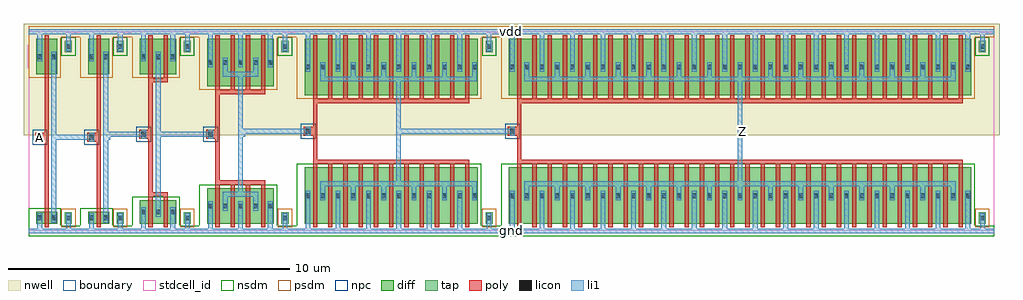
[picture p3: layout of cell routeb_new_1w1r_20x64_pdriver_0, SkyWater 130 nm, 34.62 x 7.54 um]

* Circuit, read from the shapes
.subckt routeb_new_1w1r_20x64_pdriver_0 A Z gnd vdd
XM1 routeb_new_1w1r_20x64_pinv_4_1/A A gnd gnd sky130_fd_pr__nfet_01v8 w=0.42 l=0.15
XM2 routeb_new_1w1r_20x64_pinv_5_2/A routeb_new_1w1r_20x64_pinv_4_1/A gnd gnd sky130_fd_pr__nfet_01v8 w=0.42 l=0.15
XM3 routeb_new_1w1r_20x64_pinv_6_3/A routeb_new_1w1r_20x64_pinv_5_2/A gnd gnd sky130_fd_pr__nfet_01v8 w=0.84 l=0.15 m=2
XM4 routeb_new_1w1r_20x64_pinv_7_4/A routeb_new_1w1r_20x64_pinv_6_3/A gnd gnd sky130_fd_pr__nfet_01v8 w=1.26 l=0.15 m=4
XM5 routeb_new_1w1r_20x64_pinv_8_5/A routeb_new_1w1r_20x64_pinv_7_4/A gnd gnd sky130_fd_pr__nfet_01v8 w=2 l=0.15 m=11
XM6 Z routeb_new_1w1r_20x64_pinv_8_5/A gnd gnd sky130_fd_pr__nfet_01v8 w=2 l=0.15 m=30
XM7 routeb_new_1w1r_20x64_pinv_4_1/A A vdd vdd sky130_fd_pr__pfet_01v8 w=1.26 l=0.15
XM8 routeb_new_1w1r_20x64_pinv_5_2/A routeb_new_1w1r_20x64_pinv_4_1/A vdd vdd sky130_fd_pr__pfet_01v8 w=1.26 l=0.15
XM9 routeb_new_1w1r_20x64_pinv_6_3/A routeb_new_1w1r_20x64_pinv_5_2/A vdd vdd sky130_fd_pr__pfet_01v8 w=1.26 l=0.15 m=2
XM10 routeb_new_1w1r_20x64_pinv_7_4/A routeb_new_1w1r_20x64_pinv_6_3/A vdd vdd sky130_fd_pr__pfet_01v8 w=1.68 l=0.15 m=4
XM11 routeb_new_1w1r_20x64_pinv_8_5/A routeb_new_1w1r_20x64_pinv_7_4/A vdd vdd sky130_fd_pr__pfet_01v8 w=2 l=0.15 m=11
XM12 Z routeb_new_1w1r_20x64_pinv_8_5/A vdd vdd sky130_fd_pr__pfet_01v8 w=2 l=0.15 m=30
.ends

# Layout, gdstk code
import gdstk
lib = gdstk.Library(unit=1e-6, precision=1e-09)
def R(c, l, rs):  # rectangles x0, y0, x1, y1
    for r in rs: c.add(gdstk.rectangle(r[:2], r[2:], *l))
def A(c, l, x, y, w, h, nx, ny, dx, dy):  # array of equal rectangles
    R(c, l, [(x+i*dx, y+j*dy, x+i*dx+w, y+j*dy+h) for i in range(nx) for j in range(ny)])
nwell = (64, 20)
diff = (65, 20)
tap = (65, 44)
poly = (66, 20)
licon = (66, 44)
li1 = (67, 20)
stdcell_id = (81, 4)
nsdm = (93, 44)
psdm = (94, 20)
npc = (95, 20)
boundary = (235, 4)

routeb_new_1w1r_20x64_co = lib.new_cell('routeb_new_1w1r_20x64_contact_11')
R(routeb_new_1w1r_20x64_co, nwell, [(-0.295,-0.255,0.545,0.585)])
R(routeb_new_1w1r_20x64_co, diff, [(0,0.02,0.25,0.31)])
R(routeb_new_1w1r_20x64_co, licon, [(0.04,0.08,0.21,0.25)])
R(routeb_new_1w1r_20x64_co, li1, [(0.04,0,0.21,0.33)])
R(routeb_new_1w1r_20x64_co, stdcell_id, [(-0.295,-0.255,0.545,0.585)])
R(routeb_new_1w1r_20x64_co, psdm, [(-0.125,-0.105,0.375,0.435)])
R(routeb_new_1w1r_20x64_co, boundary, [(-0.295,-0.255,0.545,0.585)])

routeb_new_1w1r_20x64_pm = lib.new_cell('routeb_new_1w1r_20x64_pmos_m1_w1_260_sli_dli_da_p')
R(routeb_new_1w1r_20x64_pm, nwell, [(-0.27,-0.27,1.02,1.53)])
R(routeb_new_1w1r_20x64_pm, diff, [(0,0,0.75,1.26)])
R(routeb_new_1w1r_20x64_pm, poly, [(0.3,-0.13,0.45,1.39), (0.3,-0.13,0.45,1.39)])
R(routeb_new_1w1r_20x64_pm, li1, [(0.04,0.465,0.21,0.795), (0.54,0.465,0.71,0.795)])
R(routeb_new_1w1r_20x64_pm, stdcell_id, [(-0.27,-0.27,1.02,1.53)])
R(routeb_new_1w1r_20x64_pm, psdm, [(-0.125,-0.125,0.875,1.385)])
R(routeb_new_1w1r_20x64_pm, boundary, [(-0.27,-0.27,1.02,1.53)])
routeb_new_1w1r_20x64_pm.add(gdstk.Reference(routeb_new_1w1r_20x64_co, (0,0.465)))
routeb_new_1w1r_20x64_pm.add(gdstk.Reference(routeb_new_1w1r_20x64_co, (0.5,0.465)))
routeb_new_1w1r_20x64_pm.add(gdstk.Label('G', (0.375,0.63), layer=66, texttype=5))
routeb_new_1w1r_20x64_pm.add(gdstk.Label('S', (0.125,0.63), layer=67, texttype=5))
routeb_new_1w1r_20x64_pm.add(gdstk.Label('D', (0.625,0.63), layer=67, texttype=5))

c_routeb_new_1w1r_20x64_co = lib.new_cell('routeb_new_1w1r_20x64_contact_10')
R(c_routeb_new_1w1r_20x64_co, diff, [(0,0.02,0.25,0.31)])
R(c_routeb_new_1w1r_20x64_co, licon, [(0.04,0.08,0.21,0.25)])
R(c_routeb_new_1w1r_20x64_co, li1, [(0.04,0,0.21,0.33)])
R(c_routeb_new_1w1r_20x64_co, stdcell_id, [(-0.125,-0.105,0.375,0.435)])
R(c_routeb_new_1w1r_20x64_co, nsdm, [(-0.125,-0.105,0.375,0.435)])
R(c_routeb_new_1w1r_20x64_co, boundary, [(-0.125,-0.105,0.375,0.435)])

routeb_new_1w1r_20x64_nm = lib.new_cell('routeb_new_1w1r_20x64_nmos_m1_w0_420_sli_dli_da_p')
R(routeb_new_1w1r_20x64_nm, diff, [(0,0,0.75,0.42)])
R(routeb_new_1w1r_20x64_nm, poly, [(0.3,-0.13,0.45,0.55), (0.3,-0.13,0.45,0.55)])
R(routeb_new_1w1r_20x64_nm, li1, [(0.04,0.045,0.21,0.375), (0.54,0.045,0.71,0.375)])
R(routeb_new_1w1r_20x64_nm, stdcell_id, [(-0.125,-0.13,0.875,0.55)])
R(routeb_new_1w1r_20x64_nm, nsdm, [(-0.125,-0.125,0.875,0.545)])
R(routeb_new_1w1r_20x64_nm, boundary, [(-0.125,-0.13,0.875,0.55)])
routeb_new_1w1r_20x64_nm.add(gdstk.Reference(c_routeb_new_1w1r_20x64_co, (0,0.045)))
routeb_new_1w1r_20x64_nm.add(gdstk.Reference(c_routeb_new_1w1r_20x64_co, (0.5,0.045)))
routeb_new_1w1r_20x64_nm.add(gdstk.Label('G', (0.375,0.21), layer=66, texttype=5))
routeb_new_1w1r_20x64_nm.add(gdstk.Label('S', (0.125,0.21), layer=67, texttype=5))
routeb_new_1w1r_20x64_nm.add(gdstk.Label('D', (0.625,0.21), layer=67, texttype=5))

c_routeb_new_1w1r_20x64_co_ = lib.new_cell('routeb_new_1w1r_20x64_contact_24')
R(c_routeb_new_1w1r_20x64_co_, nwell, [(-0.295,-0.215,0.545,0.625)])
R(c_routeb_new_1w1r_20x64_co_, tap, [(0,0,0.25,0.41)])
R(c_routeb_new_1w1r_20x64_co_, licon, [(0.04,0.12,0.21,0.29)])
R(c_routeb_new_1w1r_20x64_co_, li1, [(0.04,0.04,0.21,0.37)])
R(c_routeb_new_1w1r_20x64_co_, stdcell_id, [(-0.295,-0.215,0.545,0.625)])
R(c_routeb_new_1w1r_20x64_co_, nsdm, [(-0.125,-0.125,0.375,0.535)])
R(c_routeb_new_1w1r_20x64_co_, boundary, [(-0.295,-0.215,0.545,0.625)])

c_routeb_new_1w1r_20x64_co__ = lib.new_cell('routeb_new_1w1r_20x64_contact_25')
R(c_routeb_new_1w1r_20x64_co__, tap, [(0,0,0.25,0.41)])
R(c_routeb_new_1w1r_20x64_co__, licon, [(0.04,0.12,0.21,0.29)])
R(c_routeb_new_1w1r_20x64_co__, li1, [(0.04,0.04,0.21,0.37)])
R(c_routeb_new_1w1r_20x64_co__, stdcell_id, [(-0.125,-0.125,0.375,0.535)])
R(c_routeb_new_1w1r_20x64_co__, psdm, [(-0.125,-0.125,0.375,0.535)])
R(c_routeb_new_1w1r_20x64_co__, boundary, [(-0.125,-0.125,0.375,0.535)])

c_routeb_new_1w1r_20x64_co___ = lib.new_cell('routeb_new_1w1r_20x64_contact_15')
R(c_routeb_new_1w1r_20x64_co___, poly, [(0,0,0.33,0.33)])
R(c_routeb_new_1w1r_20x64_co___, licon, [(0.08,0.08,0.25,0.25)])
R(c_routeb_new_1w1r_20x64_co___, li1, [(0.08,0,0.25,0.33)])
R(c_routeb_new_1w1r_20x64_co___, stdcell_id, [(-0.1,-0.1,0.43,0.43)])
R(c_routeb_new_1w1r_20x64_co___, npc, [(-0.1,-0.1,0.43,0.43)])
R(c_routeb_new_1w1r_20x64_co___, boundary, [(-0.1,-0.1,0.43,0.43)])

routeb_new_1w1r_20x64_pi = lib.new_cell('routeb_new_1w1r_20x64_pinv_4')
R(routeb_new_1w1r_20x64_pi, nwell, [(-0.18,3.395,2.02,7.355)])
R(routeb_new_1w1r_20x64_pi, poly, [(0.57,0.805,0.72,5.425), (0.405,3.16,0.57,3.49)])
R(routeb_new_1w1r_20x64_pi, li1, [(0,-0.085,1.84,0.085), (0.31,-0.085,0.48,0.3), (1.33,0,1.5,0.46), (0.81,0.3,0.98,6.35), (0.32,3.16,0.49,3.49), (0.895,3.24,1.065,3.41), (0.31,6.02,0.48,7.155), (1.33,6.545,1.5,7.07), (0,6.985,1.84,7.155)])
R(routeb_new_1w1r_20x64_pi, stdcell_id, [(0,0,1.84,7.07), (0,0,1.84,7.07)])
R(routeb_new_1w1r_20x64_pi, nsdm, [(0,-0.19,1.84,0.19), (0,0,1.145,0.8)])
R(routeb_new_1w1r_20x64_pi, psdm, [(0,5.43,1.145,7.07), (0,6.88,1.84,7.26)])
R(routeb_new_1w1r_20x64_pi, boundary, [(0,0,1.84,7.07), (0,0,1.84,7.07)])
routeb_new_1w1r_20x64_pi.add(gdstk.Reference(routeb_new_1w1r_20x64_pm, (0.27,5.555)))
routeb_new_1w1r_20x64_pi.add(gdstk.Reference(routeb_new_1w1r_20x64_nm, (0.27,0.255)))
routeb_new_1w1r_20x64_pi.add(gdstk.Reference(c_routeb_new_1w1r_20x64_co_, (1.29,6.34)))
routeb_new_1w1r_20x64_pi.add(gdstk.Reference(c_routeb_new_1w1r_20x64_co__, (1.29,0.255)))
routeb_new_1w1r_20x64_pi.add(gdstk.Reference(c_routeb_new_1w1r_20x64_co___, (0.24,3.16)))
routeb_new_1w1r_20x64_pi.add(gdstk.Label('A', (0.405,3.325), layer=67, texttype=5))
routeb_new_1w1r_20x64_pi.add(gdstk.Label('Z', (0.98,3.325), layer=67, texttype=5))
routeb_new_1w1r_20x64_pi.add(gdstk.Label('gnd', (0.92,0), layer=67, texttype=5))
routeb_new_1w1r_20x64_pi.add(gdstk.Label('vdd', (0.92,7.07), layer=67, texttype=5))

c_routeb_new_1w1r_20x64_pm = lib.new_cell('routeb_new_1w1r_20x64_pmos_m2_w1_260_sli_dli_da_p')
R(c_routeb_new_1w1r_20x64_pm, nwell, [(-0.27,-0.27,1.56,1.53)])
R(c_routeb_new_1w1r_20x64_pm, diff, [(0,0,1.29,1.26)])
R(c_routeb_new_1w1r_20x64_pm, poly, [(0.3,-0.28,0.99,-0.13), (0.3,-0.13,0.45,1.39), (0.84,-0.13,0.99,1.39)])
A(c_routeb_new_1w1r_20x64_pm, li1, 0.04, 0.465, 0.17, 0.33, 3, 1, 0.52, 0)
R(c_routeb_new_1w1r_20x64_pm, stdcell_id, [(-0.27,-0.28,1.56,1.53)])
R(c_routeb_new_1w1r_20x64_pm, psdm, [(-0.125,-0.125,1.415,1.385)])
R(c_routeb_new_1w1r_20x64_pm, boundary, [(-0.27,-0.28,1.56,1.53)])
c_routeb_new_1w1r_20x64_pm.add(gdstk.Reference(routeb_new_1w1r_20x64_co, (0,0.465)))
c_routeb_new_1w1r_20x64_pm.add(gdstk.Reference(routeb_new_1w1r_20x64_co, (0.52,0.465)))
c_routeb_new_1w1r_20x64_pm.add(gdstk.Reference(routeb_new_1w1r_20x64_co, (1.04,0.465)))
c_routeb_new_1w1r_20x64_pm.add(gdstk.Label('G', (0.645,-0.205), layer=66, texttype=5))
c_routeb_new_1w1r_20x64_pm.add(gdstk.Label('S', (1.165,0.63), layer=67, texttype=5))
c_routeb_new_1w1r_20x64_pm.add(gdstk.Label('S', (0.125,0.63), layer=67, texttype=5))
c_routeb_new_1w1r_20x64_pm.add(gdstk.Label('D', (0.645,0.63), layer=67, texttype=5))

c_routeb_new_1w1r_20x64_nm = lib.new_cell('routeb_new_1w1r_20x64_nmos_m2_w0_840_sli_dli_da_p')
R(c_routeb_new_1w1r_20x64_nm, diff, [(0,0,1.29,0.84)])
R(c_routeb_new_1w1r_20x64_nm, poly, [(0.3,-0.13,0.45,0.97), (0.84,-0.13,0.99,0.97), (0.3,0.97,0.99,1.12)])
A(c_routeb_new_1w1r_20x64_nm, li1, 0.04, 0.255, 0.17, 0.33, 3, 1, 0.52, 0)
R(c_routeb_new_1w1r_20x64_nm, stdcell_id, [(-0.125,-0.13,1.415,1.12)])
R(c_routeb_new_1w1r_20x64_nm, nsdm, [(-0.125,-0.125,1.415,0.965)])
R(c_routeb_new_1w1r_20x64_nm, boundary, [(-0.125,-0.13,1.415,1.12)])
c_routeb_new_1w1r_20x64_nm.add(gdstk.Reference(c_routeb_new_1w1r_20x64_co, (0,0.255)))
c_routeb_new_1w1r_20x64_nm.add(gdstk.Reference(c_routeb_new_1w1r_20x64_co, (0.52,0.255)))
c_routeb_new_1w1r_20x64_nm.add(gdstk.Reference(c_routeb_new_1w1r_20x64_co, (1.04,0.255)))
c_routeb_new_1w1r_20x64_nm.add(gdstk.Label('G', (0.645,1.045), layer=66, texttype=5))
c_routeb_new_1w1r_20x64_nm.add(gdstk.Label('S', (1.165,0.42), layer=67, texttype=5))
c_routeb_new_1w1r_20x64_nm.add(gdstk.Label('S', (0.125,0.42), layer=67, texttype=5))
c_routeb_new_1w1r_20x64_nm.add(gdstk.Label('D', (0.645,0.42), layer=67, texttype=5))

c_routeb_new_1w1r_20x64_pi = lib.new_cell('routeb_new_1w1r_20x64_pinv_5')
R(c_routeb_new_1w1r_20x64_pi, nwell, [(-0.18,3.395,2.56,7.355)])
R(c_routeb_new_1w1r_20x64_pi, poly, [(0.57,1.375,0.72,5.275), (0.405,3.265,0.57,3.595)])
R(c_routeb_new_1w1r_20x64_pi, li1, [(0,-0.085,2.38,0.085), (0.31,-0.085,0.48,0.51), (1.35,-0.085,1.52,0.51), (1.87,0,2.04,0.46), (0.83,0.51,1,6.35), (0.32,3.265,0.49,3.595), (0.915,3.345,1.085,3.515), (0.31,6.02,0.48,7.155), (1.35,6.02,1.52,7.155), (1.87,6.545,2.04,7.07), (0,6.985,2.38,7.155)])
R(c_routeb_new_1w1r_20x64_pi, stdcell_id, [(0,0,2.38,7.07), (0,0,2.38,7.07)])
R(c_routeb_new_1w1r_20x64_pi, nsdm, [(0,-0.19,2.38,0.19), (0,0,1.685,1.22)])
R(c_routeb_new_1w1r_20x64_pi, psdm, [(0,5.43,1.685,7.07), (0,6.88,2.38,7.26)])
R(c_routeb_new_1w1r_20x64_pi, boundary, [(0,0,2.38,7.07), (0,0,2.38,7.07)])
c_routeb_new_1w1r_20x64_pi.add(gdstk.Reference(c_routeb_new_1w1r_20x64_pm, (0.27,5.555)))
c_routeb_new_1w1r_20x64_pi.add(gdstk.Reference(c_routeb_new_1w1r_20x64_nm, (0.27,0.255)))
c_routeb_new_1w1r_20x64_pi.add(gdstk.Reference(c_routeb_new_1w1r_20x64_co_, (1.83,6.34)))
c_routeb_new_1w1r_20x64_pi.add(gdstk.Reference(c_routeb_new_1w1r_20x64_co__, (1.83,0.255)))
c_routeb_new_1w1r_20x64_pi.add(gdstk.Reference(c_routeb_new_1w1r_20x64_co___, (0.24,3.265)))
c_routeb_new_1w1r_20x64_pi.add(gdstk.Label('A', (0.405,3.43), layer=67, texttype=5))
c_routeb_new_1w1r_20x64_pi.add(gdstk.Label('Z', (1,3.43), layer=67, texttype=5))
c_routeb_new_1w1r_20x64_pi.add(gdstk.Label('gnd', (1.19,0), layer=67, texttype=5))
c_routeb_new_1w1r_20x64_pi.add(gdstk.Label('vdd', (1.19,7.07), layer=67, texttype=5))

c_routeb_new_1w1r_20x64_pm_ = lib.new_cell('routeb_new_1w1r_20x64_pmos_m4_w1_680_sli_dli_da_p')
R(c_routeb_new_1w1r_20x64_pm_, nwell, [(-0.27,-0.27,2.64,1.95)])
R(c_routeb_new_1w1r_20x64_pm_, diff, [(0,0,2.37,1.68)])
A(c_routeb_new_1w1r_20x64_pm_, poly, 0.3, -0.13, 0.15, 1.94, 4, 1, 0.54, 0)
R(c_routeb_new_1w1r_20x64_pm_, poly, [(0.3,-0.28,2.07,-0.13)])
A(c_routeb_new_1w1r_20x64_pm_, li1, 0.04, 0.675, 0.17, 0.33, 3, 1, 1.06, 0)
R(c_routeb_new_1w1r_20x64_pm_, li1, [(0.56,0.335,1.81,0.505), (0.56,0.42,0.73,0.84), (1.64,0.42,1.81,0.84)])
R(c_routeb_new_1w1r_20x64_pm_, stdcell_id, [(-0.27,-0.28,2.64,1.95)])
R(c_routeb_new_1w1r_20x64_pm_, psdm, [(-0.125,-0.125,2.495,1.805)])
R(c_routeb_new_1w1r_20x64_pm_, boundary, [(-0.27,-0.28,2.64,1.95)])
c_routeb_new_1w1r_20x64_pm_.add(gdstk.Reference(routeb_new_1w1r_20x64_co, (0,0.675)))
c_routeb_new_1w1r_20x64_pm_.add(gdstk.Reference(routeb_new_1w1r_20x64_co, (0.52,0.675)))
c_routeb_new_1w1r_20x64_pm_.add(gdstk.Reference(routeb_new_1w1r_20x64_co, (1.06,0.675)))
c_routeb_new_1w1r_20x64_pm_.add(gdstk.Reference(routeb_new_1w1r_20x64_co, (1.6,0.675)))
c_routeb_new_1w1r_20x64_pm_.add(gdstk.Reference(routeb_new_1w1r_20x64_co, (2.12,0.675)))
c_routeb_new_1w1r_20x64_pm_.add(gdstk.Label('G', (1.185,-0.205), layer=66, texttype=5))
c_routeb_new_1w1r_20x64_pm_.add(gdstk.Label('S', (2.245,0.84), layer=67, texttype=5))
c_routeb_new_1w1r_20x64_pm_.add(gdstk.Label('S', (0.125,0.84), layer=67, texttype=5))
c_routeb_new_1w1r_20x64_pm_.add(gdstk.Label('S', (1.185,0.84), layer=67, texttype=5))
c_routeb_new_1w1r_20x64_pm_.add(gdstk.Label('D', (1.185,0.42), layer=67, texttype=5))

c_routeb_new_1w1r_20x64_nm_ = lib.new_cell('routeb_new_1w1r_20x64_nmos_m4_w1_260_sli_dli_da_p')
R(c_routeb_new_1w1r_20x64_nm_, diff, [(0,0,2.37,1.26)])
A(c_routeb_new_1w1r_20x64_nm_, poly, 0.3, -0.13, 0.15, 1.52, 4, 1, 0.54, 0)
R(c_routeb_new_1w1r_20x64_nm_, poly, [(0.3,1.39,2.07,1.54)])
A(c_routeb_new_1w1r_20x64_nm_, li1, 0.04, 0.465, 0.17, 0.33, 3, 1, 1.06, 0)
R(c_routeb_new_1w1r_20x64_nm_, li1, [(0.56,0.63,0.73,1.05), (1.64,0.63,1.81,1.05), (0.56,0.965,1.81,1.135)])
R(c_routeb_new_1w1r_20x64_nm_, stdcell_id, [(-0.125,-0.13,2.495,1.54)])
R(c_routeb_new_1w1r_20x64_nm_, nsdm, [(-0.125,-0.125,2.495,1.385)])
R(c_routeb_new_1w1r_20x64_nm_, boundary, [(-0.125,-0.13,2.495,1.54)])
c_routeb_new_1w1r_20x64_nm_.add(gdstk.Reference(c_routeb_new_1w1r_20x64_co, (0,0.465)))
c_routeb_new_1w1r_20x64_nm_.add(gdstk.Reference(c_routeb_new_1w1r_20x64_co, (0.52,0.465)))
c_routeb_new_1w1r_20x64_nm_.add(gdstk.Reference(c_routeb_new_1w1r_20x64_co, (1.06,0.465)))
c_routeb_new_1w1r_20x64_nm_.add(gdstk.Reference(c_routeb_new_1w1r_20x64_co, (1.6,0.465)))
c_routeb_new_1w1r_20x64_nm_.add(gdstk.Reference(c_routeb_new_1w1r_20x64_co, (2.12,0.465)))
c_routeb_new_1w1r_20x64_nm_.add(gdstk.Label('G', (1.185,1.465), layer=66, texttype=5))
c_routeb_new_1w1r_20x64_nm_.add(gdstk.Label('S', (1.185,0.63), layer=67, texttype=5))
c_routeb_new_1w1r_20x64_nm_.add(gdstk.Label('S', (2.245,0.63), layer=67, texttype=5))
c_routeb_new_1w1r_20x64_nm_.add(gdstk.Label('S', (0.125,0.63), layer=67, texttype=5))
c_routeb_new_1w1r_20x64_nm_.add(gdstk.Label('D', (1.185,1.05), layer=67, texttype=5))

c_routeb_new_1w1r_20x64_pi_ = lib.new_cell('routeb_new_1w1r_20x64_pinv_6')
R(c_routeb_new_1w1r_20x64_pi_, nwell, [(-0.18,3.395,3.64,7.355)])
R(c_routeb_new_1w1r_20x64_pi_, poly, [(0.57,1.795,0.72,4.855), (0.405,3.265,0.57,3.595)])
A(c_routeb_new_1w1r_20x64_pi_, li1, 0.31, -0.085, 0.17, 0.805, 3, 1, 1.06, 0)
A(c_routeb_new_1w1r_20x64_pi_, li1, 0.31, 5.81, 0.17, 1.345, 3, 1, 1.06, 0)
R(c_routeb_new_1w1r_20x64_pi_, li1, [(0,-0.085,3.46,0.085), (2.95,0,3.12,0.46), (1.37,1.22,1.54,5.64), (0.32,3.265,0.49,3.595), (1.455,3.345,1.625,3.515), (2.95,6.545,3.12,7.07), (0,6.985,3.46,7.155)])
R(c_routeb_new_1w1r_20x64_pi_, stdcell_id, [(0,0,3.46,7.07), (0,0,3.46,7.07)])
R(c_routeb_new_1w1r_20x64_pi_, nsdm, [(0,-0.19,3.46,0.19), (0,0,2.765,1.64)])
R(c_routeb_new_1w1r_20x64_pi_, psdm, [(0,5.01,2.765,7.07), (0,6.88,3.46,7.26)])
R(c_routeb_new_1w1r_20x64_pi_, boundary, [(0,0,3.46,7.07), (0,0,3.46,7.07)])
c_routeb_new_1w1r_20x64_pi_.add(gdstk.Reference(c_routeb_new_1w1r_20x64_pm_, (0.27,5.135)))
c_routeb_new_1w1r_20x64_pi_.add(gdstk.Reference(c_routeb_new_1w1r_20x64_nm_, (0.27,0.255)))
c_routeb_new_1w1r_20x64_pi_.add(gdstk.Reference(c_routeb_new_1w1r_20x64_co_, (2.91,6.34)))
c_routeb_new_1w1r_20x64_pi_.add(gdstk.Reference(c_routeb_new_1w1r_20x64_co__, (2.91,0.255)))
c_routeb_new_1w1r_20x64_pi_.add(gdstk.Reference(c_routeb_new_1w1r_20x64_co___, (0.24,3.265)))
c_routeb_new_1w1r_20x64_pi_.add(gdstk.Label('A', (0.405,3.43), layer=67, texttype=5))
c_routeb_new_1w1r_20x64_pi_.add(gdstk.Label('Z', (1.54,3.43), layer=67, texttype=5))
c_routeb_new_1w1r_20x64_pi_.add(gdstk.Label('gnd', (1.73,0), layer=67, texttype=5))
c_routeb_new_1w1r_20x64_pi_.add(gdstk.Label('vdd', (1.73,7.07), layer=67, texttype=5))

c_routeb_new_1w1r_20x64_pm__ = lib.new_cell('routeb_new_1w1r_20x64_pmos_m11_w2_000_sli_dli_da_p')
R(c_routeb_new_1w1r_20x64_pm__, nwell, [(-0.27,-0.27,6.42,2.27)])
R(c_routeb_new_1w1r_20x64_pm__, diff, [(0,0,6.15,2)])
A(c_routeb_new_1w1r_20x64_pm__, poly, 0.3, -0.13, 0.15, 2.26, 11, 1, 0.54, 0)
R(c_routeb_new_1w1r_20x64_pm__, poly, [(0.3,-0.28,5.85,-0.13)])
A(c_routeb_new_1w1r_20x64_pm__, li1, 0.56, 0.58, 0.17, 0.42, 5, 1, 1.08, 0)
A(c_routeb_new_1w1r_20x64_pm__, li1, 1.1, 0.835, 0.17, 0.33, 5, 1, 1.08, 0)
R(c_routeb_new_1w1r_20x64_pm__, li1, [(0.56,0.495,6.11,0.665), (5.94,0.58,6.11,1), (0.04,0.835,0.21,1.165)])
R(c_routeb_new_1w1r_20x64_pm__, stdcell_id, [(-0.27,-0.28,6.42,2.27)])
R(c_routeb_new_1w1r_20x64_pm__, psdm, [(-0.125,-0.125,6.275,2.125)])
R(c_routeb_new_1w1r_20x64_pm__, boundary, [(-0.27,-0.28,6.42,2.27)])
c_routeb_new_1w1r_20x64_pm__.add(gdstk.Reference(routeb_new_1w1r_20x64_co, (0,0.835)))
c_routeb_new_1w1r_20x64_pm__.add(gdstk.Reference(routeb_new_1w1r_20x64_co, (0.52,0.835)))
c_routeb_new_1w1r_20x64_pm__.add(gdstk.Reference(routeb_new_1w1r_20x64_co, (1.06,0.835)))
c_routeb_new_1w1r_20x64_pm__.add(gdstk.Reference(routeb_new_1w1r_20x64_co, (1.6,0.835)))
c_routeb_new_1w1r_20x64_pm__.add(gdstk.Reference(routeb_new_1w1r_20x64_co, (2.14,0.835)))
c_routeb_new_1w1r_20x64_pm__.add(gdstk.Reference(routeb_new_1w1r_20x64_co, (2.68,0.835)))
c_routeb_new_1w1r_20x64_pm__.add(gdstk.Reference(routeb_new_1w1r_20x64_co, (3.22,0.835)))
c_routeb_new_1w1r_20x64_pm__.add(gdstk.Reference(routeb_new_1w1r_20x64_co, (3.76,0.835)))
c_routeb_new_1w1r_20x64_pm__.add(gdstk.Reference(routeb_new_1w1r_20x64_co, (4.3,0.835)))
c_routeb_new_1w1r_20x64_pm__.add(gdstk.Reference(routeb_new_1w1r_20x64_co, (4.84,0.835)))
c_routeb_new_1w1r_20x64_pm__.add(gdstk.Reference(routeb_new_1w1r_20x64_co, (5.38,0.835)))
c_routeb_new_1w1r_20x64_pm__.add(gdstk.Reference(routeb_new_1w1r_20x64_co, (5.9,0.835)))
c_routeb_new_1w1r_20x64_pm__.add(gdstk.Label('G', (3.075,-0.205), layer=66, texttype=5))
c_routeb_new_1w1r_20x64_pm__.add(gdstk.Label('S', (2.265,1), layer=67, texttype=5))
c_routeb_new_1w1r_20x64_pm__.add(gdstk.Label('S', (3.345,1), layer=67, texttype=5))
c_routeb_new_1w1r_20x64_pm__.add(gdstk.Label('S', (1.185,1), layer=67, texttype=5))
c_routeb_new_1w1r_20x64_pm__.add(gdstk.Label('S', (0.125,1), layer=67, texttype=5))
c_routeb_new_1w1r_20x64_pm__.add(gdstk.Label('S', (5.505,1), layer=67, texttype=5))
c_routeb_new_1w1r_20x64_pm__.add(gdstk.Label('S', (4.425,1), layer=67, texttype=5))
c_routeb_new_1w1r_20x64_pm__.add(gdstk.Label('D', (3.335,0.58), layer=67, texttype=5))

c_routeb_new_1w1r_20x64_nm__ = lib.new_cell('routeb_new_1w1r_20x64_nmos_m11_w2_000_sli_dli_da_p')
R(c_routeb_new_1w1r_20x64_nm__, diff, [(0,0,6.15,2)])
A(c_routeb_new_1w1r_20x64_nm__, poly, 0.3, -0.13, 0.15, 2.26, 11, 1, 0.54, 0)
R(c_routeb_new_1w1r_20x64_nm__, poly, [(0.3,2.13,5.85,2.28)])
A(c_routeb_new_1w1r_20x64_nm__, li1, 1.1, 0.835, 0.17, 0.33, 5, 1, 1.08, 0)
A(c_routeb_new_1w1r_20x64_nm__, li1, 0.56, 1, 0.17, 0.42, 5, 1, 1.08, 0)
R(c_routeb_new_1w1r_20x64_nm__, li1, [(0.04,0.835,0.21,1.165), (5.94,1,6.11,1.42), (0.56,1.335,6.11,1.505)])
R(c_routeb_new_1w1r_20x64_nm__, stdcell_id, [(-0.125,-0.13,6.275,2.28)])
R(c_routeb_new_1w1r_20x64_nm__, nsdm, [(-0.125,-0.125,6.275,2.125)])
R(c_routeb_new_1w1r_20x64_nm__, boundary, [(-0.125,-0.13,6.275,2.28)])
c_routeb_new_1w1r_20x64_nm__.add(gdstk.Reference(c_routeb_new_1w1r_20x64_co, (0,0.835)))
c_routeb_new_1w1r_20x64_nm__.add(gdstk.Reference(c_routeb_new_1w1r_20x64_co, (0.52,0.835)))
c_routeb_new_1w1r_20x64_nm__.add(gdstk.Reference(c_routeb_new_1w1r_20x64_co, (1.06,0.835)))
c_routeb_new_1w1r_20x64_nm__.add(gdstk.Reference(c_routeb_new_1w1r_20x64_co, (1.6,0.835)))
c_routeb_new_1w1r_20x64_nm__.add(gdstk.Reference(c_routeb_new_1w1r_20x64_co, (2.14,0.835)))
c_routeb_new_1w1r_20x64_nm__.add(gdstk.Reference(c_routeb_new_1w1r_20x64_co, (2.68,0.835)))
c_routeb_new_1w1r_20x64_nm__.add(gdstk.Reference(c_routeb_new_1w1r_20x64_co, (3.22,0.835)))
c_routeb_new_1w1r_20x64_nm__.add(gdstk.Reference(c_routeb_new_1w1r_20x64_co, (3.76,0.835)))
c_routeb_new_1w1r_20x64_nm__.add(gdstk.Reference(c_routeb_new_1w1r_20x64_co, (4.3,0.835)))
c_routeb_new_1w1r_20x64_nm__.add(gdstk.Reference(c_routeb_new_1w1r_20x64_co, (4.84,0.835)))
c_routeb_new_1w1r_20x64_nm__.add(gdstk.Reference(c_routeb_new_1w1r_20x64_co, (5.38,0.835)))
c_routeb_new_1w1r_20x64_nm__.add(gdstk.Reference(c_routeb_new_1w1r_20x64_co, (5.9,0.835)))
c_routeb_new_1w1r_20x64_nm__.add(gdstk.Label('G', (3.075,2.205), layer=66, texttype=5))
c_routeb_new_1w1r_20x64_nm__.add(gdstk.Label('S', (2.265,1), layer=67, texttype=5))
c_routeb_new_1w1r_20x64_nm__.add(gdstk.Label('S', (3.345,1), layer=67, texttype=5))
c_routeb_new_1w1r_20x64_nm__.add(gdstk.Label('S', (1.185,1), layer=67, texttype=5))
c_routeb_new_1w1r_20x64_nm__.add(gdstk.Label('S', (0.125,1), layer=67, texttype=5))
c_routeb_new_1w1r_20x64_nm__.add(gdstk.Label('S', (5.505,1), layer=67, texttype=5))
c_routeb_new_1w1r_20x64_nm__.add(gdstk.Label('S', (4.425,1), layer=67, texttype=5))
c_routeb_new_1w1r_20x64_nm__.add(gdstk.Label('D', (3.335,1.42), layer=67, texttype=5))

c_routeb_new_1w1r_20x64_pi__ = lib.new_cell('routeb_new_1w1r_20x64_pinv_7')
R(c_routeb_new_1w1r_20x64_pi__, nwell, [(-0.18,3.395,7.42,7.355)])
R(c_routeb_new_1w1r_20x64_pi__, poly, [(0.57,2.535,0.72,4.535), (0.405,3.37,0.57,3.7)])
A(c_routeb_new_1w1r_20x64_pi__, li1, 1.37, -0.085, 0.17, 1.175, 5, 1, 1.08, 0)
A(c_routeb_new_1w1r_20x64_pi__, li1, 1.37, 5.65, 0.17, 1.505, 5, 1, 1.08, 0)
R(c_routeb_new_1w1r_20x64_pi__, li1, [(0,-0.085,7.24,0.085), (0.31,-0.085,0.48,1.09), (6.73,0,6.9,0.46), (3.52,1.59,3.69,5.48), (0.32,3.37,0.49,3.7), (3.605,3.45,3.775,3.62), (0.31,5.65,0.48,7.155), (6.73,6.545,6.9,7.07), (0,6.985,7.24,7.155)])
R(c_routeb_new_1w1r_20x64_pi__, stdcell_id, [(0,0,7.24,7.07), (0,0,7.24,7.07)])
R(c_routeb_new_1w1r_20x64_pi__, nsdm, [(0,-0.19,7.24,0.19), (0,0,6.545,2.38)])
R(c_routeb_new_1w1r_20x64_pi__, psdm, [(0,4.69,6.545,7.07), (0,6.88,7.24,7.26)])
R(c_routeb_new_1w1r_20x64_pi__, boundary, [(0,0,7.24,7.07), (0,0,7.24,7.07)])
c_routeb_new_1w1r_20x64_pi__.add(gdstk.Reference(c_routeb_new_1w1r_20x64_pm__, (0.27,4.815)))
c_routeb_new_1w1r_20x64_pi__.add(gdstk.Reference(c_routeb_new_1w1r_20x64_nm__, (0.27,0.255)))
c_routeb_new_1w1r_20x64_pi__.add(gdstk.Reference(c_routeb_new_1w1r_20x64_co_, (6.69,6.34)))
c_routeb_new_1w1r_20x64_pi__.add(gdstk.Reference(c_routeb_new_1w1r_20x64_co__, (6.69,0.255)))
c_routeb_new_1w1r_20x64_pi__.add(gdstk.Reference(c_routeb_new_1w1r_20x64_co___, (0.24,3.37)))
c_routeb_new_1w1r_20x64_pi__.add(gdstk.Label('A', (0.405,3.535), layer=67, texttype=5))
c_routeb_new_1w1r_20x64_pi__.add(gdstk.Label('Z', (3.69,3.535), layer=67, texttype=5))
c_routeb_new_1w1r_20x64_pi__.add(gdstk.Label('gnd', (3.62,0), layer=67, texttype=5))
c_routeb_new_1w1r_20x64_pi__.add(gdstk.Label('vdd', (3.62,7.07), layer=67, texttype=5))

c_routeb_new_1w1r_20x64_pm___ = lib.new_cell('routeb_new_1w1r_20x64_pmos_m30_w2_000_sli_dli_da_p')
R(c_routeb_new_1w1r_20x64_pm___, nwell, [(-0.27,-0.27,16.68,2.27)])
R(c_routeb_new_1w1r_20x64_pm___, diff, [(0,0,16.41,2)])
A(c_routeb_new_1w1r_20x64_pm___, poly, 0.3, -0.13, 0.15, 2.26, 30, 1, 0.54, 0)
R(c_routeb_new_1w1r_20x64_pm___, poly, [(0.3,-0.28,16.11,-0.13)])
A(c_routeb_new_1w1r_20x64_pm___, li1, 0.56, 0.58, 0.17, 0.42, 15, 1, 1.08, 0)
A(c_routeb_new_1w1r_20x64_pm___, li1, 1.1, 0.835, 0.17, 0.33, 14, 1, 1.08, 0)
R(c_routeb_new_1w1r_20x64_pm___, li1, [(0.56,0.495,15.85,0.665), (0.04,0.835,0.21,1.165), (16.2,0.835,16.37,1.165)])
R(c_routeb_new_1w1r_20x64_pm___, stdcell_id, [(-0.27,-0.28,16.68,2.27)])
R(c_routeb_new_1w1r_20x64_pm___, psdm, [(-0.125,-0.125,16.535,2.125)])
R(c_routeb_new_1w1r_20x64_pm___, boundary, [(-0.27,-0.28,16.68,2.27)])
c_routeb_new_1w1r_20x64_pm___.add(gdstk.Reference(routeb_new_1w1r_20x64_co, (0,0.835)))
c_routeb_new_1w1r_20x64_pm___.add(gdstk.Reference(routeb_new_1w1r_20x64_co, (0.52,0.835)))
c_routeb_new_1w1r_20x64_pm___.add(gdstk.Reference(routeb_new_1w1r_20x64_co, (1.06,0.835)))
c_routeb_new_1w1r_20x64_pm___.add(gdstk.Reference(routeb_new_1w1r_20x64_co, (1.6,0.835)))
c_routeb_new_1w1r_20x64_pm___.add(gdstk.Reference(routeb_new_1w1r_20x64_co, (2.14,0.835)))
c_routeb_new_1w1r_20x64_pm___.add(gdstk.Reference(routeb_new_1w1r_20x64_co, (2.68,0.835)))
c_routeb_new_1w1r_20x64_pm___.add(gdstk.Reference(routeb_new_1w1r_20x64_co, (3.22,0.835)))
c_routeb_new_1w1r_20x64_pm___.add(gdstk.Reference(routeb_new_1w1r_20x64_co, (3.76,0.835)))
c_routeb_new_1w1r_20x64_pm___.add(gdstk.Reference(routeb_new_1w1r_20x64_co, (4.3,0.835)))
c_routeb_new_1w1r_20x64_pm___.add(gdstk.Reference(routeb_new_1w1r_20x64_co, (4.84,0.835)))
c_routeb_new_1w1r_20x64_pm___.add(gdstk.Reference(routeb_new_1w1r_20x64_co, (5.38,0.835)))
c_routeb_new_1w1r_20x64_pm___.add(gdstk.Reference(routeb_new_1w1r_20x64_co, (5.92,0.835)))
c_routeb_new_1w1r_20x64_pm___.add(gdstk.Reference(routeb_new_1w1r_20x64_co, (6.46,0.835)))
c_routeb_new_1w1r_20x64_pm___.add(gdstk.Reference(routeb_new_1w1r_20x64_co, (7,0.835)))
c_routeb_new_1w1r_20x64_pm___.add(gdstk.Reference(routeb_new_1w1r_20x64_co, (7.54,0.835)))
c_routeb_new_1w1r_20x64_pm___.add(gdstk.Reference(routeb_new_1w1r_20x64_co, (8.08,0.835)))
c_routeb_new_1w1r_20x64_pm___.add(gdstk.Reference(routeb_new_1w1r_20x64_co, (8.62,0.835)))
c_routeb_new_1w1r_20x64_pm___.add(gdstk.Reference(routeb_new_1w1r_20x64_co, (9.16,0.835)))
c_routeb_new_1w1r_20x64_pm___.add(gdstk.Reference(routeb_new_1w1r_20x64_co, (9.7,0.835)))
c_routeb_new_1w1r_20x64_pm___.add(gdstk.Reference(routeb_new_1w1r_20x64_co, (10.24,0.835)))
c_routeb_new_1w1r_20x64_pm___.add(gdstk.Reference(routeb_new_1w1r_20x64_co, (10.78,0.835)))
c_routeb_new_1w1r_20x64_pm___.add(gdstk.Reference(routeb_new_1w1r_20x64_co, (11.32,0.835)))
c_routeb_new_1w1r_20x64_pm___.add(gdstk.Reference(routeb_new_1w1r_20x64_co, (11.86,0.835)))
c_routeb_new_1w1r_20x64_pm___.add(gdstk.Reference(routeb_new_1w1r_20x64_co, (12.4,0.835)))
c_routeb_new_1w1r_20x64_pm___.add(gdstk.Reference(routeb_new_1w1r_20x64_co, (12.94,0.835)))
c_routeb_new_1w1r_20x64_pm___.add(gdstk.Reference(routeb_new_1w1r_20x64_co, (13.48,0.835)))
c_routeb_new_1w1r_20x64_pm___.add(gdstk.Reference(routeb_new_1w1r_20x64_co, (14.02,0.835)))
c_routeb_new_1w1r_20x64_pm___.add(gdstk.Reference(routeb_new_1w1r_20x64_co, (14.56,0.835)))
c_routeb_new_1w1r_20x64_pm___.add(gdstk.Reference(routeb_new_1w1r_20x64_co, (15.1,0.835)))
c_routeb_new_1w1r_20x64_pm___.add(gdstk.Reference(routeb_new_1w1r_20x64_co, (15.64,0.835)))
c_routeb_new_1w1r_20x64_pm___.add(gdstk.Reference(routeb_new_1w1r_20x64_co, (16.16,0.835)))
c_routeb_new_1w1r_20x64_pm___.add(gdstk.Label('G', (8.205,-0.205), layer=66, texttype=5))
c_routeb_new_1w1r_20x64_pm___.add(gdstk.Label('S', (14.145,1), layer=67, texttype=5))
c_routeb_new_1w1r_20x64_pm___.add(gdstk.Label('S', (6.585,1), layer=67, texttype=5))
c_routeb_new_1w1r_20x64_pm___.add(gdstk.Label('S', (9.825,1), layer=67, texttype=5))
c_routeb_new_1w1r_20x64_pm___.add(gdstk.Label('S', (2.265,1), layer=67, texttype=5))
c_routeb_new_1w1r_20x64_pm___.add(gdstk.Label('S', (8.745,1), layer=67, texttype=5))
c_routeb_new_1w1r_20x64_pm___.add(gdstk.Label('S', (11.985,1), layer=67, texttype=5))
c_routeb_new_1w1r_20x64_pm___.add(gdstk.Label('S', (13.065,1), layer=67, texttype=5))
c_routeb_new_1w1r_20x64_pm___.add(gdstk.Label('S', (3.345,1), layer=67, texttype=5))
c_routeb_new_1w1r_20x64_pm___.add(gdstk.Label('S', (10.905,1), layer=67, texttype=5))
c_routeb_new_1w1r_20x64_pm___.add(gdstk.Label('S', (1.185,1), layer=67, texttype=5))
c_routeb_new_1w1r_20x64_pm___.add(gdstk.Label('S', (0.125,1), layer=67, texttype=5))
c_routeb_new_1w1r_20x64_pm___.add(gdstk.Label('S', (5.505,1), layer=67, texttype=5))
c_routeb_new_1w1r_20x64_pm___.add(gdstk.Label('S', (16.285,1), layer=67, texttype=5))
c_routeb_new_1w1r_20x64_pm___.add(gdstk.Label('S', (4.425,1), layer=67, texttype=5))
c_routeb_new_1w1r_20x64_pm___.add(gdstk.Label('S', (15.225,1), layer=67, texttype=5))
c_routeb_new_1w1r_20x64_pm___.add(gdstk.Label('S', (7.665,1), layer=67, texttype=5))
c_routeb_new_1w1r_20x64_pm___.add(gdstk.Label('D', (8.205,0.58), layer=67, texttype=5))

c_routeb_new_1w1r_20x64_nm___ = lib.new_cell('routeb_new_1w1r_20x64_nmos_m30_w2_000_sli_dli_da_p')
R(c_routeb_new_1w1r_20x64_nm___, diff, [(0,0,16.41,2)])
A(c_routeb_new_1w1r_20x64_nm___, poly, 0.3, -0.13, 0.15, 2.26, 30, 1, 0.54, 0)
R(c_routeb_new_1w1r_20x64_nm___, poly, [(0.3,2.13,16.11,2.28)])
A(c_routeb_new_1w1r_20x64_nm___, li1, 1.1, 0.835, 0.17, 0.33, 14, 1, 1.08, 0)
A(c_routeb_new_1w1r_20x64_nm___, li1, 0.56, 1, 0.17, 0.42, 15, 1, 1.08, 0)
R(c_routeb_new_1w1r_20x64_nm___, li1, [(0.04,0.835,0.21,1.165), (16.2,0.835,16.37,1.165), (0.56,1.335,15.85,1.505)])
R(c_routeb_new_1w1r_20x64_nm___, stdcell_id, [(-0.125,-0.13,16.535,2.28)])
R(c_routeb_new_1w1r_20x64_nm___, nsdm, [(-0.125,-0.125,16.535,2.125)])
R(c_routeb_new_1w1r_20x64_nm___, boundary, [(-0.125,-0.13,16.535,2.28)])
c_routeb_new_1w1r_20x64_nm___.add(gdstk.Reference(c_routeb_new_1w1r_20x64_co, (0,0.835)))
c_routeb_new_1w1r_20x64_nm___.add(gdstk.Reference(c_routeb_new_1w1r_20x64_co, (0.52,0.835)))
c_routeb_new_1w1r_20x64_nm___.add(gdstk.Reference(c_routeb_new_1w1r_20x64_co, (1.06,0.835)))
c_routeb_new_1w1r_20x64_nm___.add(gdstk.Reference(c_routeb_new_1w1r_20x64_co, (1.6,0.835)))
c_routeb_new_1w1r_20x64_nm___.add(gdstk.Reference(c_routeb_new_1w1r_20x64_co, (2.14,0.835)))
c_routeb_new_1w1r_20x64_nm___.add(gdstk.Reference(c_routeb_new_1w1r_20x64_co, (2.68,0.835)))
c_routeb_new_1w1r_20x64_nm___.add(gdstk.Reference(c_routeb_new_1w1r_20x64_co, (3.22,0.835)))
c_routeb_new_1w1r_20x64_nm___.add(gdstk.Reference(c_routeb_new_1w1r_20x64_co, (3.76,0.835)))
c_routeb_new_1w1r_20x64_nm___.add(gdstk.Reference(c_routeb_new_1w1r_20x64_co, (4.3,0.835)))
c_routeb_new_1w1r_20x64_nm___.add(gdstk.Reference(c_routeb_new_1w1r_20x64_co, (4.84,0.835)))
c_routeb_new_1w1r_20x64_nm___.add(gdstk.Reference(c_routeb_new_1w1r_20x64_co, (5.38,0.835)))
c_routeb_new_1w1r_20x64_nm___.add(gdstk.Reference(c_routeb_new_1w1r_20x64_co, (5.92,0.835)))
c_routeb_new_1w1r_20x64_nm___.add(gdstk.Reference(c_routeb_new_1w1r_20x64_co, (6.46,0.835)))
c_routeb_new_1w1r_20x64_nm___.add(gdstk.Reference(c_routeb_new_1w1r_20x64_co, (7,0.835)))
c_routeb_new_1w1r_20x64_nm___.add(gdstk.Reference(c_routeb_new_1w1r_20x64_co, (7.54,0.835)))
c_routeb_new_1w1r_20x64_nm___.add(gdstk.Reference(c_routeb_new_1w1r_20x64_co, (8.08,0.835)))
c_routeb_new_1w1r_20x64_nm___.add(gdstk.Reference(c_routeb_new_1w1r_20x64_co, (8.62,0.835)))
c_routeb_new_1w1r_20x64_nm___.add(gdstk.Reference(c_routeb_new_1w1r_20x64_co, (9.16,0.835)))
c_routeb_new_1w1r_20x64_nm___.add(gdstk.Reference(c_routeb_new_1w1r_20x64_co, (9.7,0.835)))
c_routeb_new_1w1r_20x64_nm___.add(gdstk.Reference(c_routeb_new_1w1r_20x64_co, (10.24,0.835)))
c_routeb_new_1w1r_20x64_nm___.add(gdstk.Reference(c_routeb_new_1w1r_20x64_co, (10.78,0.835)))
c_routeb_new_1w1r_20x64_nm___.add(gdstk.Reference(c_routeb_new_1w1r_20x64_co, (11.32,0.835)))
c_routeb_new_1w1r_20x64_nm___.add(gdstk.Reference(c_routeb_new_1w1r_20x64_co, (11.86,0.835)))
c_routeb_new_1w1r_20x64_nm___.add(gdstk.Reference(c_routeb_new_1w1r_20x64_co, (12.4,0.835)))
c_routeb_new_1w1r_20x64_nm___.add(gdstk.Reference(c_routeb_new_1w1r_20x64_co, (12.94,0.835)))
c_routeb_new_1w1r_20x64_nm___.add(gdstk.Reference(c_routeb_new_1w1r_20x64_co, (13.48,0.835)))
c_routeb_new_1w1r_20x64_nm___.add(gdstk.Reference(c_routeb_new_1w1r_20x64_co, (14.02,0.835)))
c_routeb_new_1w1r_20x64_nm___.add(gdstk.Reference(c_routeb_new_1w1r_20x64_co, (14.56,0.835)))
c_routeb_new_1w1r_20x64_nm___.add(gdstk.Reference(c_routeb_new_1w1r_20x64_co, (15.1,0.835)))
c_routeb_new_1w1r_20x64_nm___.add(gdstk.Reference(c_routeb_new_1w1r_20x64_co, (15.64,0.835)))
c_routeb_new_1w1r_20x64_nm___.add(gdstk.Reference(c_routeb_new_1w1r_20x64_co, (16.16,0.835)))
c_routeb_new_1w1r_20x64_nm___.add(gdstk.Label('G', (8.205,2.205), layer=66, texttype=5))
c_routeb_new_1w1r_20x64_nm___.add(gdstk.Label('S', (14.145,1), layer=67, texttype=5))
c_routeb_new_1w1r_20x64_nm___.add(gdstk.Label('S', (6.585,1), layer=67, texttype=5))
c_routeb_new_1w1r_20x64_nm___.add(gdstk.Label('S', (9.825,1), layer=67, texttype=5))
c_routeb_new_1w1r_20x64_nm___.add(gdstk.Label('S', (2.265,1), layer=67, texttype=5))
c_routeb_new_1w1r_20x64_nm___.add(gdstk.Label('S', (8.745,1), layer=67, texttype=5))
c_routeb_new_1w1r_20x64_nm___.add(gdstk.Label('S', (11.985,1), layer=67, texttype=5))
c_routeb_new_1w1r_20x64_nm___.add(gdstk.Label('S', (13.065,1), layer=67, texttype=5))
c_routeb_new_1w1r_20x64_nm___.add(gdstk.Label('S', (3.345,1), layer=67, texttype=5))
c_routeb_new_1w1r_20x64_nm___.add(gdstk.Label('S', (10.905,1), layer=67, texttype=5))
c_routeb_new_1w1r_20x64_nm___.add(gdstk.Label('S', (1.185,1), layer=67, texttype=5))
c_routeb_new_1w1r_20x64_nm___.add(gdstk.Label('S', (0.125,1), layer=67, texttype=5))
c_routeb_new_1w1r_20x64_nm___.add(gdstk.Label('S', (5.505,1), layer=67, texttype=5))
c_routeb_new_1w1r_20x64_nm___.add(gdstk.Label('S', (16.285,1), layer=67, texttype=5))
c_routeb_new_1w1r_20x64_nm___.add(gdstk.Label('S', (4.425,1), layer=67, texttype=5))
c_routeb_new_1w1r_20x64_nm___.add(gdstk.Label('S', (15.225,1), layer=67, texttype=5))
c_routeb_new_1w1r_20x64_nm___.add(gdstk.Label('S', (7.665,1), layer=67, texttype=5))
c_routeb_new_1w1r_20x64_nm___.add(gdstk.Label('D', (8.205,1.42), layer=67, texttype=5))

c_routeb_new_1w1r_20x64_pi___ = lib.new_cell('routeb_new_1w1r_20x64_pinv_8')
R(c_routeb_new_1w1r_20x64_pi___, nwell, [(-0.18,3.395,17.68,7.355)])
R(c_routeb_new_1w1r_20x64_pi___, poly, [(0.57,2.535,0.72,4.535), (0.405,3.37,0.57,3.7)])
A(c_routeb_new_1w1r_20x64_pi___, li1, 1.37, -0.085, 0.17, 1.175, 14, 1, 1.08, 0)
A(c_routeb_new_1w1r_20x64_pi___, li1, 1.37, 5.65, 0.17, 1.505, 14, 1, 1.08, 0)
R(c_routeb_new_1w1r_20x64_pi___, li1, [(0,-0.085,17.5,0.085), (0.31,-0.085,0.48,1.09), (16.47,-0.085,16.64,1.09), (16.99,0,17.16,0.46), (8.39,1.59,8.56,5.48), (0.32,3.37,0.49,3.7), (8.475,3.45,8.645,3.62), (0.31,5.65,0.48,7.155), (16.47,5.65,16.64,7.155), (16.99,6.545,17.16,7.07), (0,6.985,17.5,7.155)])
R(c_routeb_new_1w1r_20x64_pi___, stdcell_id, [(0,0,17.5,7.07), (0,0,17.5,7.07)])
R(c_routeb_new_1w1r_20x64_pi___, nsdm, [(0,-0.19,17.5,0.19), (0,0,16.805,2.38)])
R(c_routeb_new_1w1r_20x64_pi___, psdm, [(0,4.69,16.805,7.07), (0,6.88,17.5,7.26)])
R(c_routeb_new_1w1r_20x64_pi___, boundary, [(0,0,17.5,7.07), (0,0,17.5,7.07)])
c_routeb_new_1w1r_20x64_pi___.add(gdstk.Reference(c_routeb_new_1w1r_20x64_pm___, (0.27,4.815)))
c_routeb_new_1w1r_20x64_pi___.add(gdstk.Reference(c_routeb_new_1w1r_20x64_nm___, (0.27,0.255)))
c_routeb_new_1w1r_20x64_pi___.add(gdstk.Reference(c_routeb_new_1w1r_20x64_co_, (16.95,6.34)))
c_routeb_new_1w1r_20x64_pi___.add(gdstk.Reference(c_routeb_new_1w1r_20x64_co__, (16.95,0.255)))
c_routeb_new_1w1r_20x64_pi___.add(gdstk.Reference(c_routeb_new_1w1r_20x64_co___, (0.24,3.37)))
c_routeb_new_1w1r_20x64_pi___.add(gdstk.Label('A', (0.405,3.535), layer=67, texttype=5))
c_routeb_new_1w1r_20x64_pi___.add(gdstk.Label('Z', (8.56,3.535), layer=67, texttype=5))
c_routeb_new_1w1r_20x64_pi___.add(gdstk.Label('gnd', (8.75,0), layer=67, texttype=5))
c_routeb_new_1w1r_20x64_pi___.add(gdstk.Label('vdd', (8.75,7.07), layer=67, texttype=5))

routeb_new_1w1r_20x64_pd = lib.new_cell('routeb_new_1w1r_20x64_pdriver_0')
R(routeb_new_1w1r_20x64_pd, nwell, [(-0.18,3.395,34.44,7.355)])
R(routeb_new_1w1r_20x64_pd, li1, [(0,-0.085,34.26,0.085), (0.32,3.16,0.49,3.49), (0.98,3.24,2.245,3.41), (2.735,3.325,2.905,3.43), (2.735,3.345,2.905,3.515), (2.82,3.345,4.085,3.515), (4.68,3.345,6.465,3.515), (7.515,3.43,7.685,3.535), (7.515,3.45,7.685,3.62), (7.6,3.45,9.925,3.62), (13.21,3.45,17.165,3.62), (25.235,3.45,25.405,3.62), (0,6.985,34.26,7.155)])
R(routeb_new_1w1r_20x64_pd, stdcell_id, [(0,0,34.26,7.07), (0,0,34.26,7.07)])
R(routeb_new_1w1r_20x64_pd, nsdm, [(0,-0.19,34.26,0.19)])
R(routeb_new_1w1r_20x64_pd, psdm, [(0,6.88,34.26,7.26)])
R(routeb_new_1w1r_20x64_pd, boundary, [(0,0,34.26,7.07), (0,0,34.26,7.07)])
routeb_new_1w1r_20x64_pd.add(gdstk.Reference(routeb_new_1w1r_20x64_pi, (0,0)))
routeb_new_1w1r_20x64_pd.add(gdstk.Reference(routeb_new_1w1r_20x64_pi, (1.84,0)))
routeb_new_1w1r_20x64_pd.add(gdstk.Reference(c_routeb_new_1w1r_20x64_pi, (3.68,0)))
routeb_new_1w1r_20x64_pd.add(gdstk.Reference(c_routeb_new_1w1r_20x64_pi_, (6.06,0)))
routeb_new_1w1r_20x64_pd.add(gdstk.Reference(c_routeb_new_1w1r_20x64_pi__, (9.52,0)))
routeb_new_1w1r_20x64_pd.add(gdstk.Reference(c_routeb_new_1w1r_20x64_pi___, (16.76,0)))
routeb_new_1w1r_20x64_pd.add(gdstk.Label('Z', (25.32,3.535), layer=67, texttype=5))
routeb_new_1w1r_20x64_pd.add(gdstk.Label('A', (0.405,3.325), layer=67, texttype=5))
routeb_new_1w1r_20x64_pd.add(gdstk.Label('gnd', (17.13,0), layer=67, texttype=5))
routeb_new_1w1r_20x64_pd.add(gdstk.Label('vdd', (17.13,7.07), layer=67, texttype=5))

lib.write_gds('routeb_new_1w1r_20x64_pdriver_0.gds')
